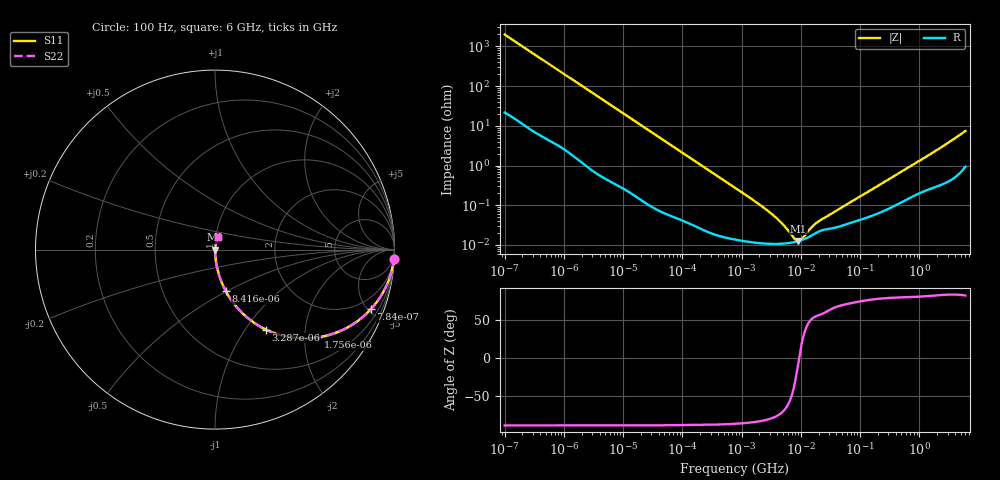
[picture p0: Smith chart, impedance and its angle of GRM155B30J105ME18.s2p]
!Murata Part Number: GRM155B30J105ME18
!These Parameters are Measured in Series Mode Connection
!Data Generated on Mar 30, 2021
!  o--ll--o
!Port1  Port2
!  o------o
!Operation Temp=25[degC], DC Bias Voltage=0[V]
!Freq. Start=100[Hz] Stop=6[GHz] 401[Steps]
# Hz S RI R 50
!Freq.(Hz) S11(Real) S11(Imag) S21(Real) S21(Imag) S12(Real) S12(Imag) S22(Real) S22(Imag)
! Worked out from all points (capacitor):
!   401 points, 100 Hz to 6 GHz, reference 50 ohm
!   read as one part in series: C = 793 nF near 109 Hz
!   lowest |Z| = 12.5 mohm at 9.09 MHz (marker M1)
!   series resonance near 9.362 MHz, so ESL is about 360 pH
!   S11 on the Smith chart (normalised r, x): 100 Hz: 1, -40; 784 Hz: 1.06, -5.18; 1.756 kHz: 1.03, -2.33; 3.287 kHz: 1.01, -1.25; 8.416 kHz: 1.01, -0.49; 6 GHz: 1.02, +0.15
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100  0.997 -0.0498  0.00302 0.0498  0.00302 0.0498  0.997 -0.0498
293  0.9779 -0.1417  0.0221 0.1417  0.0221 0.1417  0.9779 -0.1417
501  0.9398 -0.232  0.0602 0.232  0.0602 0.232  0.9398 -0.232
784  0.8673 -0.3331  0.1327 0.3331  0.1327 0.3331  0.8673 -0.3331
1174  0.7487 -0.4275  0.2513 0.4275  0.2513 0.4275  0.7487 -0.4275
1756  0.5753 -0.4884  0.4247 0.4884  0.4247 0.4884  0.5753 -0.4884
2008  0.51 -0.4942  0.49 0.4942  0.49 0.4942  0.51 -0.4942
3287  0.2832 -0.4452  0.7168 0.4452  0.7168 0.4452  0.2832 -0.4452
5143  0.1411 -0.3425  0.8589 0.3425  0.8589 0.3425  0.1411 -0.3425
8416  0.0595 -0.2304  0.9405 0.2304  0.9405 0.2304  0.0595 -0.2304
17227  0.0159 -0.1187  0.9841 0.1187  0.9841 0.1187  0.0159 -0.1187
40335  0.0034 -0.0517  0.9966 0.0517  0.9966 0.0517  0.0034 -0.0517
774597  0.000144 -0.00276  0.9999 0.00276  0.9999 0.00276  0.000144 -0.00276
3245845  0.000106 -0.000589  0.9999 0.000589  0.9999 0.000589  0.000106 -0.000589
5079039  0.000108 -0.000301  0.9999 0.000301  0.9999 0.000301  0.000108 -0.000301
7947587  0.000118 -7.55e-05  0.9999 7.55e-05  0.9999 7.55e-05  0.000118 -7.55e-05
9090158  0.000124 -1.34e-05  0.9999 1.34e-05  0.9999 1.34e-05  0.000124 -1.34e-05
1.039699e7  0.000132 4.78e-05  0.9999 -4.78e-05  0.9999 -4.78e-05  0.000132 4.78e-05
1.555665e7  0.000176 0.000227  0.9998 -0.000227  0.9998 -0.000227  0.000176 0.000227
2.128304e7  0.000225 0.000353  0.9998 -0.000353  0.9998 -0.000353  0.000225 0.000353
3.124326e8  0.000849 0.00452  0.9992 -0.00452  0.9992 -0.00452  0.000849 0.00452
6e9  0.0145 0.0718  0.9855 -0.0718  0.9855 -0.0718  0.0145 0.0718
